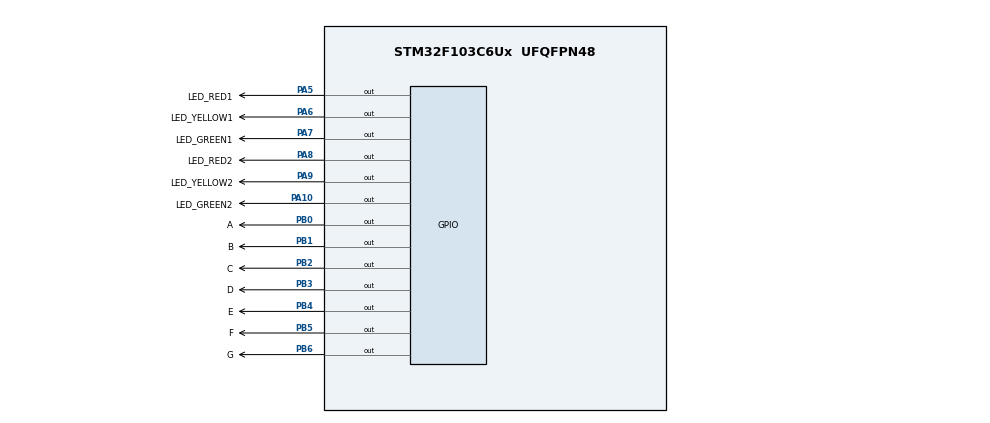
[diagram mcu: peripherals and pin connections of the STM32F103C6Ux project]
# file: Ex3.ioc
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Mcu.Family=STM32F1
Mcu.Name=STM32F103C6Ux
Mcu.Package=UFQFPN48
NVIC.PriorityGroup=NVIC_PRIORITYGROUP_4
PA10.GPIO_Label=LED_GREEN2
PA10.Signal=GPIO_Output
PA5.GPIO_Label=LED_RED1
PA5.Signal=GPIO_Output
PA6.GPIO_Label=LED_YELLOW1
PA6.Signal=GPIO_Output
PA7.GPIO_Label=LED_GREEN1
PA7.Signal=GPIO_Output
PA8.GPIO_Label=LED_RED2
PA8.Signal=GPIO_Output
PA9.GPIO_Label=LED_YELLOW2
PA9.Signal=GPIO_Output
PB0.GPIO_Label=A
PB0.Signal=GPIO_Output
PB1.GPIO_Label=B
PB1.Signal=GPIO_Output
PB2.GPIO_Label=C
PB2.Signal=GPIO_Output
PB3.GPIO_Label=D
PB3.Signal=GPIO_Output
PB4.GPIO_Label=E
PB4.Signal=GPIO_Output
PB5.GPIO_Label=F
PB5.Signal=GPIO_Output
PB6.GPIO_Label=G
PB6.Signal=GPIO_Output
ProjectManager.HeapSize=0x200
ProjectManager.StackSize=0x400
ProjectManager.TargetToolchain=STM32CubeIDE
RCC.APB1Freq_Value=8000000
RCC.APB2Freq_Value=8000000
VP_SYS_VS_ND.Mode=No_Debug
board=custom

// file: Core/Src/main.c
/* USER CODE BEGIN Header */
/**
  ******************************************************************************
  * @file           : main.c
  * @brief          : Main program body
  ******************************************************************************
  * @attention
  *
  * <h2><center>&copy; Copyright (c) 2023 STMicroelectronics.
  * All rights reserved.</center></h2>
  *
  * This software component is licensed by ST under BSD 3-Clause license,
  * the "License"; You may not use this file except in compliance with the
  * License. You may obtain a copy of the License at:
  *                        opensource.org/licenses/BSD-3-Clause
  *
  ******************************************************************************
  */
/* USER CODE END Header */
#include "main.h"

void SystemClock_Config(void);
static void MX_GPIO_Init(void);

int main(void)
{

  /* MCU Configuration--------------------------------------------------------*/

  /* Reset of all peripherals, Initializes the Flash interface and the Systick. */
  HAL_Init();

  /* Configure the system clock */
  SystemClock_Config();

  /* Initialize all configured peripherals */
  MX_GPIO_Init();
  /* USER CODE BEGIN 2 */

  enum status {
	  RED1_GREEN2,
	  RED1_YELLOW2,
	  RED2_GREEN1,
	  RED2_YELLOW1,
  };
  void trafficLight(enum status curr) {
	  switch(curr) {
	  case RED1_GREEN2:
		  HAL_GPIO_WritePin(LED_RED1_GPIO_Port, LED_RED1_Pin, RESET);
		  HAL_GPIO_WritePin(LED_YELLOW1_GPIO_Port, LED_YELLOW1_Pin, SET);
		  HAL_GPIO_WritePin(LED_GREEN1_GPIO_Port, LED_GREEN1_Pin, SET);
		  HAL_GPIO_WritePin(LED_RED2_GPIO_Port, LED_RED2_Pin, SET);
		  HAL_GPIO_WritePin(LED_YELLOW2_GPIO_Port, LED_YELLOW2_Pin, SET);
		  HAL_GPIO_WritePin(LED_GREEN2_GPIO_Port, LED_GREEN2_Pin, RESET);
		  break;
	  case RED1_YELLOW2:
		  HAL_GPIO_WritePin(LED_RED1_GPIO_Port, LED_RED1_Pin, RESET);
		  HAL_GPIO_WritePin(LED_YELLOW1_GPIO_Port, LED_YELLOW1_Pin, SET);
		  HAL_GPIO_WritePin(LED_GREEN1_GPIO_Port, LED_GREEN1_Pin, SET);
		  HAL_GPIO_WritePin(LED_RED2_GPIO_Port, LED_RED2_Pin, SET);
		  HAL_GPIO_WritePin(LED_YELLOW2_GPIO_Port, LED_YELLOW2_Pin, RESET);
		  HAL_GPIO_WritePin(LED_GREEN2_GPIO_Port, LED_GREEN2_Pin, SET);
		  break;
	  case RED2_GREEN1:
		  HAL_GPIO_WritePin(LED_RED1_GPIO_Port, LED_RED1_Pin, SET);
		  HAL_GPIO_WritePin(LED_YELLOW1_GPIO_Port, LED_YELLOW1_Pin, SET);
		  HAL_GPIO_WritePin(LED_GREEN1_GPIO_Port, LED_GREEN1_Pin, RESET);
		  HAL_GPIO_WritePin(LED_RED2_GPIO_Port, LED_RED2_Pin, RESET);
		  HAL_GPIO_WritePin(LED_YELLOW2_GPIO_Port, LED_YELLOW2_Pin, SET);
		  HAL_GPIO_WritePin(LED_GREEN2_GPIO_Port, LED_GREEN2_Pin, RESET);
		  break;
	  case RED2_YELLOW1:
		  HAL_GPIO_WritePin(LED_RED1_GPIO_Port, LED_RED1_Pin, SET);
		  HAL_GPIO_WritePin(LED_YELLOW1_GPIO_Port, LED_YELLOW1_Pin, RESET);
		  HAL_GPIO_WritePin(LED_GREEN1_GPIO_Port, LED_GREEN1_Pin, SET);
		  HAL_GPIO_WritePin(LED_RED2_GPIO_Port, LED_RED2_Pin, RESET);
		  HAL_GPIO_WritePin(LED_YELLOW2_GPIO_Port, LED_YELLOW2_Pin, SET);
		  HAL_GPIO_WritePin(LED_GREEN2_GPIO_Port, LED_GREEN2_Pin, SET);
		  break;
	  }
  }
  enum status curr = RED1_GREEN2;
  int red = 5;
  int yellow = 3;
  int green = 2;
  /* USER CODE END 2 */

  /* Infinite loop */
  while (1)
  {
	  switch(curr) {
	  case RED1_GREEN2:
		  trafficLight(curr);
		  red--;
		  green--;
		  if(green <= 0) {
			  curr = RED1_YELLOW2;
			  green = 3;
		  }
		  break;
	  case RED1_YELLOW2:
	  	  trafficLight(curr);
	  	  red--;
	  	  yellow--;
	  	  if(yellow <= 0) {
	  		  curr = RED2_GREEN1;
	  		  yellow = 2;
	  		  red = 5;
	  	  }
	  	  break;
	  case RED2_GREEN1:
		  trafficLight(curr);
		  green--;
		  if (green <= 0) {
			  curr = RED2_YELLOW1;
			  green = 3;
		  }
		  break;
	  case RED2_YELLOW1:
		  trafficLight(curr);
		  yellow--;
		  if (yellow <= 0) {
			  curr = RED1_GREEN2;
			  yellow = 2;
		  }
		  break;
	  }
	  HAL_Delay(1000);
  }
}

void SystemClock_Config(void)
{
  RCC_OscInitTypeDef RCC_OscInitStruct = {0};
  RCC_ClkInitTypeDef RCC_ClkInitStruct = {0};

  /** Initializes the RCC Oscillators according to the specified parameters
  * in the RCC_OscInitTypeDef structure.
  */
  RCC_OscInitStruct.OscillatorType = RCC_OSCILLATORTYPE_HSI;
  RCC_OscInitStruct.HSIState = RCC_HSI_ON;
  RCC_OscInitStruct.HSICalibrationValue = RCC_HSICALIBRATION_DEFAULT;
  RCC_OscInitStruct.PLL.PLLState = RCC_PLL_NONE;
  if (HAL_RCC_OscConfig(&RCC_OscInitStruct) != HAL_OK)
  {
    Error_Handler();
  }
  /** Initializes the CPU, AHB and APB buses clocks
  */
  RCC_ClkInitStruct.ClockType = RCC_CLOCKTYPE_HCLK|RCC_CLOCKTYPE_SYSCLK
                              |RCC_CLOCKTYPE_PCLK1|RCC_CLOCKTYPE_PCLK2;
  RCC_ClkInitStruct.SYSCLKSource = RCC_SYSCLKSOURCE_HSI;
  RCC_ClkInitStruct.AHBCLKDivider = RCC_SYSCLK_DIV1;
  RCC_ClkInitStruct.APB1CLKDivider = RCC_HCLK_DIV1;
  RCC_ClkInitStruct.APB2CLKDivider = RCC_HCLK_DIV1;

  if (HAL_RCC_ClockConfig(&RCC_ClkInitStruct, FLASH_LATENCY_0) != HAL_OK)
  {
    Error_Handler();
  }
}

static void MX_GPIO_Init(void)
{
  GPIO_InitTypeDef GPIO_InitStruct = {0};

  /* GPIO Ports Clock Enable */
  __HAL_RCC_GPIOA_CLK_ENABLE();
  __HAL_RCC_GPIOB_CLK_ENABLE();

  /*Configure GPIO pin Output Level */
  HAL_GPIO_WritePin(GPIOA, LED_RED1_Pin|LED_YELLOW1_Pin|LED_GREEN1_Pin|LED_RED2_Pin
                          |LED_YELLOW2_Pin|LED_GREEN2_Pin, GPIO_PIN_RESET);

  /*Configure GPIO pin Output Level */
  HAL_GPIO_WritePin(GPIOB, A_Pin|B_Pin|C_Pin|D_Pin
                          |E_Pin|F_Pin|G_Pin, GPIO_PIN_RESET);

  /*Configure GPIO pins : LED_RED1_Pin LED_YELLOW1_Pin LED_GREEN1_Pin LED_RED2_Pin
                           LED_YELLOW2_Pin LED_GREEN2_Pin */
  GPIO_InitStruct.Pin = LED_RED1_Pin|LED_YELLOW1_Pin|LED_GREEN1_Pin|LED_RED2_Pin
                          |LED_YELLOW2_Pin|LED_GREEN2_Pin;
  GPIO_InitStruct.Mode = GPIO_MODE_OUTPUT_PP;
  GPIO_InitStruct.Pull = GPIO_NOPULL;
  GPIO_InitStruct.Speed = GPIO_SPEED_FREQ_LOW;
  HAL_GPIO_Init(GPIOA, &GPIO_InitStruct);

  /*Configure GPIO pins : A_Pin B_Pin C_Pin D_Pin
                           E_Pin F_Pin G_Pin */
  GPIO_InitStruct.Pin = A_Pin|B_Pin|C_Pin|D_Pin
                          |E_Pin|F_Pin|G_Pin;
  GPIO_InitStruct.Mode = GPIO_MODE_OUTPUT_PP;
  GPIO_InitStruct.Pull = GPIO_NOPULL;
  GPIO_InitStruct.Speed = GPIO_SPEED_FREQ_LOW;
  HAL_GPIO_Init(GPIOB, &GPIO_InitStruct);

}

void Error_Handler(void)
{
  __disable_irq();
  while (1)
  {
  }
}

/************************ (C) COPYRIGHT STMicroelectronics *****END OF FILE****/
